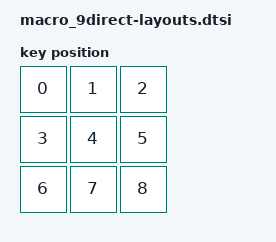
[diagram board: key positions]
#include <physical_layouts.dtsi>

/ {
    physical_layout_macro_9direct: physical_layout_macro_9direct {
        compatible = "zmk,physical-layout";
        display-name = "macro-9direct";
        keys  //                     w   h    x    y     rot    rx    ry
            = <&key_physical_attrs 100 100    0    0       0     0     0>
            , <&key_physical_attrs 100 100  100    0       0   100     0>
            , <&key_physical_attrs 100 100  200    0       0   200     0>
            , <&key_physical_attrs 100 100    0  100       0     0   100>
            , <&key_physical_attrs 100 100  100  100       0   100   100>
            , <&key_physical_attrs 100 100  200  100       0   200   100>
            , <&key_physical_attrs 100 100    0  200       0     0   200>
            , <&key_physical_attrs 100 100  100  200       0   100   200>
            , <&key_physical_attrs 100 100  200  200       0   200   200>
            ;
    };
};
